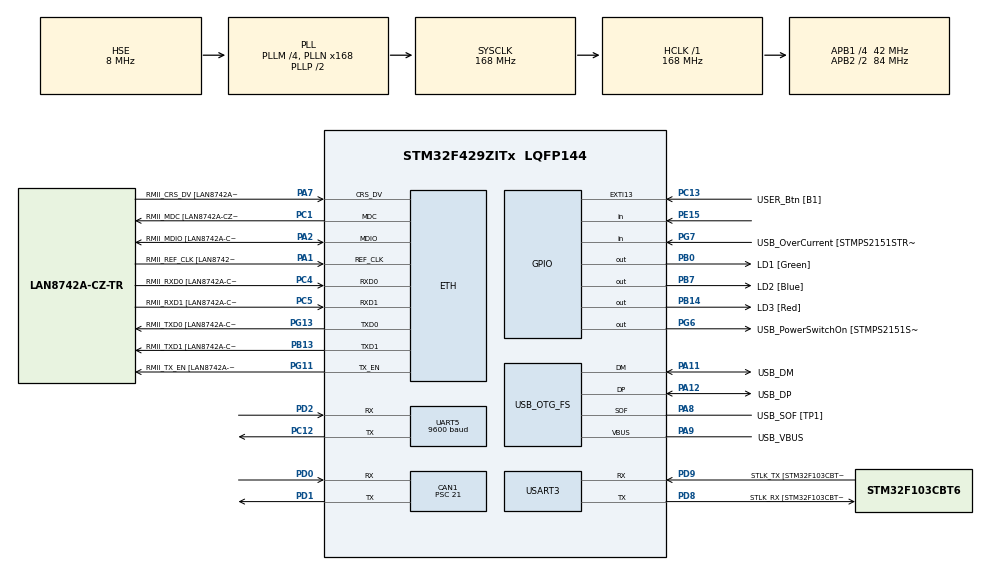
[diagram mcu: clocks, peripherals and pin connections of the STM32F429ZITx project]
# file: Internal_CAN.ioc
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CAN1.BS1=CAN_BS1_14TQ
CAN1.BS2=CAN_BS2_5TQ
CAN1.CalculateBaudRate=100000
CAN1.CalculateTimeBit=10000
CAN1.CalculateTimeQuantum=500.0
CAN1.Prescaler=21
ETH.MediaInterface=HAL_ETH_RMII_MODE
ETH.PHY_Name=LAN8742A_PHY_ADDRESS
ETH.PHY_Value=0
ETH.PhyAddress=0
Mcu.Family=STM32F4
Mcu.Name=STM32F429ZITx
Mcu.Package=LQFP144
NVIC.PriorityGroup=NVIC_PRIORITYGROUP_4
PA1.GPIO_Label=RMII_REF_CLK [LAN8742A-CZ-TR_REFCLK0]
PA1.Mode=RMII
PA1.Signal=ETH_REF_CLK
PA10.GPIO_Label=USB_ID
PA10.Signal=USB_OTG_FS_ID
PA11.GPIO_Label=USB_DM
PA11.Mode=Device_Only
PA11.Signal=USB_OTG_FS_DM
PA12.GPIO_Label=USB_DP
PA12.Mode=Device_Only
PA12.Signal=USB_OTG_FS_DP
PA13.GPIO_Label=TMS
PA13.Mode=Serial_Wire
PA13.Signal=SYS_JTMS-SWDIO
PA14.GPIO_Label=TCK
PA14.Mode=Serial_Wire
PA14.Signal=SYS_JTCK-SWCLK
PA2.GPIO_Label=RMII_MDIO [LAN8742A-CZ-TR_MDIO]
PA2.Mode=RMII
PA2.Signal=ETH_MDIO
PA7.GPIO_Label=RMII_CRS_DV [LAN8742A-CZ-TR_CRS_DV]
PA7.Mode=RMII
PA7.Signal=ETH_CRS_DV
PA8.GPIO_Label=USB_SOF [TP1]
PA8.Mode=Activate_SOF_FS
PA8.Signal=USB_OTG_FS_SOF
PA9.GPIO_Label=USB_VBUS
PA9.Mode=Activate_VBUS
PA9.Signal=USB_OTG_FS_VBUS
PB0.GPIO_Label=LD1 [Green]
PB0.Signal=GPIO_Output
PB13.GPIO_Label=RMII_TXD1 [LAN8742A-CZ-TR_TXD1]
PB13.Mode=RMII
PB13.Signal=ETH_TXD1
PB14.GPIO_Label=LD3 [Red]
PB14.Signal=GPIO_Output
PB7.GPIO_Label=LD2 [Blue]
PB7.Signal=GPIO_Output
PC1.GPIO_Label=RMII_MDC [LAN8742A-CZ-TR_MDC]
PC1.Mode=RMII
PC1.Signal=ETH_MDC
PC12.Mode=Asynchronous
PC12.Signal=UART5_TX
PC13.GPIO_Label=USER_Btn [B1]
PC13.Signal=GPXTI13
PC14/OSC32_IN.Mode=LSE-External-Oscillator
PC14/OSC32_IN.Signal=RCC_OSC32_IN
PC15/OSC32_OUT.Mode=LSE-External-Oscillator
PC15/OSC32_OUT.Signal=RCC_OSC32_OUT
PC4.GPIO_Label=RMII_RXD0 [LAN8742A-CZ-TR_RXD0]
PC4.Mode=RMII
PC4.Signal=ETH_RXD0
PC5.GPIO_Label=RMII_RXD1 [LAN8742A-CZ-TR_RXD1]
PC5.Mode=RMII
PC5.Signal=ETH_RXD1
PD0.Mode=CAN_Activate
PD0.Signal=CAN1_RX
PD1.Mode=CAN_Activate
PD1.Signal=CAN1_TX
PD2.Mode=Asynchronous
PD2.Signal=UART5_RX
PD8.GPIO_Label=STLK_RX [STM32F103CBT6_PA3]
PD8.Mode=Asynchronous
PD8.Signal=USART3_TX
PD9.GPIO_Label=STLK_TX [STM32F103CBT6_PA2]
PD9.Mode=Asynchronous
PD9.Signal=USART3_RX
PE15.Signal=GPIO_Input
PE7.Signal=UART7_RX
PE8.Signal=UART7_TX
PG11.GPIO_Label=RMII_TX_EN [LAN8742A-CZ-TR_TXEN]
PG11.Mode=RMII
PG11.Signal=ETH_TX_EN
PG13.GPIO_Label=RMII_TXD0 [LAN8742A-CZ-TR_TXD0]
PG13.Mode=RMII
PG13.Signal=ETH_TXD0
PG6.GPIO_Label=USB_PowerSwitchOn [STMPS2151STR_EN]
PG6.Signal=GPIO_Output
PG7.GPIO_Label=USB_OverCurrent [STMPS2151STR_FAULT]
PG7.Signal=GPIO_Input
PH0/OSC_IN.GPIO_Label=MCO [STM32F103CBT6_PA8]
PH0/OSC_IN.Mode=HSE-External-Clock-Source
PH0/OSC_IN.Signal=RCC_OSC_IN
PH1/OSC_OUT.Mode=HSE-External-Clock-Source
PH1/OSC_OUT.Signal=RCC_OSC_OUT
ProjectManager.HeapSize=0x200
ProjectManager.StackSize=0x400
ProjectManager.TargetToolchain=STM32CubeIDE
RCC.48MHZClocksFreq_Value=48000000
RCC.AHBFreq_Value=168000000
RCC.APB1CLKDivider=RCC_HCLK_DIV4
RCC.APB1Freq_Value=42000000
RCC.APB1TimFreq_Value=84000000
RCC.APB2CLKDivider=RCC_HCLK_DIV2
RCC.APB2Freq_Value=84000000
RCC.APB2TimCLKDivider=2
RCC.APB2TimFreq_Value=168000000
RCC.CortexFreq_Value=168000000
RCC.HCLKFreq_Value=168000000
RCC.HSE_VALUE=8000000
RCC.HSI_VALUE=16000000
RCC.PLLM=4
RCC.PLLMUL=RCC_PLL_MUL9
RCC.PLLN=168
RCC.PLLQ=7
RCC.PRESCALERUSB=RCC_USBCLKSOURCE_PLL_DIV1_5
RCC.SYSCLKFreq_VALUE=168000000
RCC.SYSCLKSource=RCC_SYSCLKSOURCE_PLLCLK
RCC.SYSCLKSourceVirtual=RCC_SYSCLKSOURCE_PLLCLK
RCC.USBFreq_Value=48000000
RCC.VCOOutputFreq_Value=336000000
UART5.BaudRate=9600
UART5.VirtualMode=Asynchronous
USART3.VirtualMode=VM_ASYNC
USB_OTG_FS.VirtualMode=Device_Only
board=NUCLEO-F429ZI

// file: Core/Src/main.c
/* USER CODE BEGIN Header */
/**
  ******************************************************************************
  * @file           : main.c
  * @brief          : Main program body
  ******************************************************************************
  * @attention
  *
  * Copyright (c) 2025 STMicroelectronics.
  * All rights reserved.
  *
  * This software is licensed under terms that can be found in the LICENSE file
  * in the root directory of this software component.
  * If no LICENSE file comes with this software, it is provided AS-IS.
  *
  ******************************************************************************
  */
/* USER CODE END Header */
#include "main.h"
#include "can.h"
#include "eth.h"
#include "usart.h"
#include "usb_otg.h"
#include "gpio.h"

/* USER CODE BEGIN Includes */
#include "dht11.h"
/* USER CODE END Includes */

void SystemClock_Config(void);

/* USER CODE BEGIN 0 */

void DWT_Init(void)
{
	CoreDebug->DEMCR |= CoreDebug_DEMCR_TRCENA_Msk;   // Permission to use DWT
	DWT->CYCCNT = 0;                                  // Initialize counter
	DWT->CTRL |= DWT_CTRL_CYCCNTENA_Msk;              // enable counter
}
/* USER CODE END 0 */

int main(void)
{

  /* USER CODE BEGIN 1 */
	// txData[0]: [7:6] bit = CO2 flag
	// txData[0]: [5:0] bit = Temperature
	// txData[1]: Humidity
	uint8_t txData[2] = {-1, -1};

	uint16_t flag = 0;
	uint8_t dht_status = 0;
	uint8_t GAS_CONCENTRATION_READ[] = {0xff, 0x01, 0x86, 0x00, 0x00, 0x00, 0x00, 0x00, 0x79};
	uint8_t CALIBRATE_ZERO[] = {0xff, 0x01, 0x87, 0x00, 0x00, 0x00, 0x00, 0x00, 0x78};
	uint8_t Ret_CO2[9] = { 0 };
	uint16_t Concentration = 0;
  /* USER CODE END 1 */

  /* MCU Configuration--------------------------------------------------------*/

  /* Reset of all peripherals, Initializes the Flash interface and the Systick. */
  HAL_Init();

  /* Configure the system clock */
  SystemClock_Config();

  /* Initialize all configured peripherals */
  MX_GPIO_Init();
  MX_CAN1_Init();
  MX_ETH_Init();
  MX_UART5_Init();
  MX_USART3_UART_Init();
  MX_USB_OTG_FS_PCD_Init();
  /* USER CODE BEGIN 2 */
  HAL_CAN_Start(&hcan1);
  DWT_Init();
  // HAL_UART_Transmit(&huart5, CALIBRATE_ZERO, sizeof(CALIBRATE_ZERO), 100);
  /* USER CODE END 2 */

  /* Infinite loop */
  /* USER CODE BEGIN WHILE */
  while (1)
  {
	  	// Read the Humidity & Temperature
		dht_status = dht11_read();
		if(dht_status == 1){

		}
		else{
			Uart3_Printf("Humidity & Temperature read fail...\r\n");
		}

		// Read the CO2 concentration
		HAL_UART_Transmit(&huart5, GAS_CONCENTRATION_READ, sizeof(GAS_CONCENTRATION_READ), 100);
		if(HAL_UART_Receive(&huart5, Ret_CO2, 9, 100) == HAL_OK){
			Concentration = Ret_CO2[2] * 256 + Ret_CO2[3];
		}
		else{
			Uart3_Printf("CO2 receive fail...\r\n");
		}

		// Update status
		flag = Temperature * 256 + Humidity;

		if(Concentration >= 2000){
			flag &= ~(0b11 << 14);
			flag |= 0b10 << 14;
		}
		else if(Concentration >= 1500){
			flag &= ~(0b11 << 14);
			flag |= 0b1 << 14;
		}
		else if (Concentration >= 400){
			flag &= ~(0b11 << 14);
		}
		else{
			Uart3_Printf("Invalid Concentration...\r\n");
		}

		// Check the data
		Uart3_Printf("get humi=%d temp=%d ppm=%d\r\n", txData[0], txData[1], Concentration);

		// Send CAN message
		if (flag != txData[0] * 256 + txData[1]){
			txData[0] = (flag >> 8);
			txData[1] = flag & 0xFF;
			Uart3_Printf("CAN send - Status update\r\n");
			CAN1_tx(txData);
		}
		else{
			Uart3_Printf("Skip CAN send - No status update\r\n");
		}

		HAL_Delay(500);
    /* USER CODE END WHILE */

  }
}

void SystemClock_Config(void)
{
  RCC_OscInitTypeDef RCC_OscInitStruct = {0};
  RCC_ClkInitTypeDef RCC_ClkInitStruct = {0};

  /** Configure the main internal regulator output voltage
  */
  __HAL_RCC_PWR_CLK_ENABLE();
  __HAL_PWR_VOLTAGESCALING_CONFIG(PWR_REGULATOR_VOLTAGE_SCALE1);

  /** Initializes the RCC Oscillators according to the specified parameters
  * in the RCC_OscInitTypeDef structure.
  */
  RCC_OscInitStruct.OscillatorType = RCC_OSCILLATORTYPE_HSE;
  RCC_OscInitStruct.HSEState = RCC_HSE_BYPASS;
  RCC_OscInitStruct.PLL.PLLState = RCC_PLL_ON;
  RCC_OscInitStruct.PLL.PLLSource = RCC_PLLSOURCE_HSE;
  RCC_OscInitStruct.PLL.PLLM = 4;
  RCC_OscInitStruct.PLL.PLLN = 168;
  RCC_OscInitStruct.PLL.PLLP = RCC_PLLP_DIV2;
  RCC_OscInitStruct.PLL.PLLQ = 7;
  if (HAL_RCC_OscConfig(&RCC_OscInitStruct) != HAL_OK)
  {
    Error_Handler();
  }

  /** Initializes the CPU, AHB and APB buses clocks
  */
  RCC_ClkInitStruct.ClockType = RCC_CLOCKTYPE_HCLK|RCC_CLOCKTYPE_SYSCLK
                              |RCC_CLOCKTYPE_PCLK1|RCC_CLOCKTYPE_PCLK2;
  RCC_ClkInitStruct.SYSCLKSource = RCC_SYSCLKSOURCE_PLLCLK;
  RCC_ClkInitStruct.AHBCLKDivider = RCC_SYSCLK_DIV1;
  RCC_ClkInitStruct.APB1CLKDivider = RCC_HCLK_DIV4;
  RCC_ClkInitStruct.APB2CLKDivider = RCC_HCLK_DIV2;

  if (HAL_RCC_ClockConfig(&RCC_ClkInitStruct, FLASH_LATENCY_5) != HAL_OK)
  {
    Error_Handler();
  }
}

void Error_Handler(void)
{
  __disable_irq();
  while (1)
  {
  }
}
